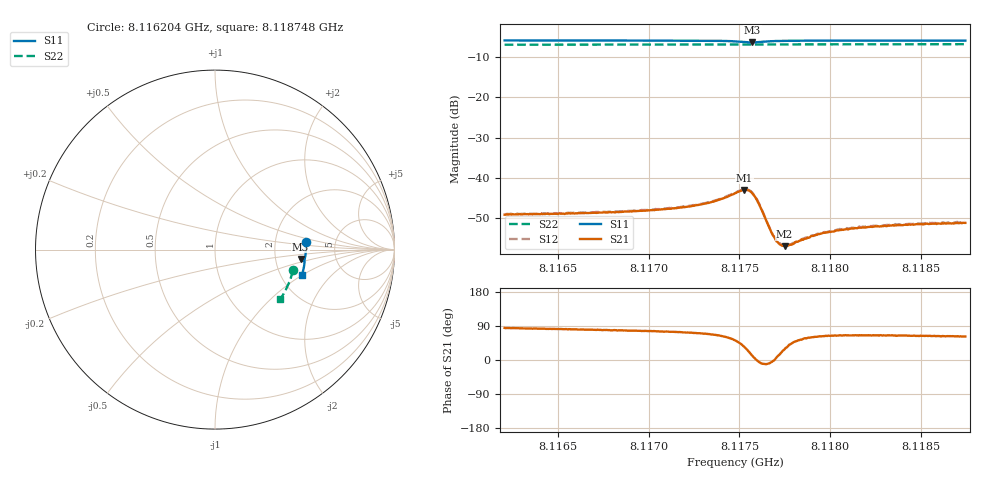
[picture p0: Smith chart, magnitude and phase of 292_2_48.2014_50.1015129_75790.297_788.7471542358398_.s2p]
#  HZ  S  RI  R  50.00
! Rohde & Schwarz Vector Network Analyzer
! Rohde-Schwarz,ZNB20-2Port,1311601062101988,3.16
! Created: UTC 3/20/2024, 11:49:07 AM
! freq[Hz]  re:S11  im:S11  re:S21  im:S21  re:S12  im:S12  re:S22  im:S22
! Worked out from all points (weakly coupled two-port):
!   401 points, 8.116204 GHz to 8.118748 GHz, reference 50 ohm
!   highest |S21| = -42.92 dB at 8.117527 GHz (marker M1); lowest = -56.9 dB at 8.117749 GHz (marker M2)
!   lowest |S11| = -6.4 dB at 8.117571 GHz (marker M3), VSWR 2.84, Z = 139 - j18.8 ohm
!   |S11| at or under -10 dB: nowhere
!   |S22| runs from -7.0 to -6.8 dB; largest |S21 - S12| = 0.0002
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8.1162038e9  0.5053 0.043  0.000327 0.00351  0.000399 0.00357  0.4339 -0.1154
8.1166299e9  0.5064 0.0107  0.000605 0.00364  0.00066 0.00365  0.4265 -0.1441
8.1170559e9  0.5051 -0.0223  0.00102 0.00395  0.00107 0.00398  0.4172 -0.1723
8.1172086e9  0.5035 -0.0352  0.00134 0.00419  0.00139 0.00427  0.4133 -0.1821
8.117304e9  0.5018 -0.0438  0.00169 0.00449  0.00172 0.00454  0.4107 -0.1884
8.117393e9  0.4984 -0.0525  0.00237 0.00491  0.00247 0.00493  0.4081 -0.1942
8.1174757e9  0.4907 -0.0608  0.004 0.00512  0.00414 0.00517  0.4055 -0.1996
8.1175266e9  0.4812 -0.0611  0.00586 0.00409  0.00601 0.00411  0.4037 -0.2024
8.117552e9  0.4771 -0.0567  0.0065 0.00263  0.00664 0.00259  0.4029 -0.2038
8.1175711e9  0.4765 -0.052  0.00635 0.00131  0.00649 0.00124  0.4023 -0.2047
8.1175902e9  0.4788 -0.0478  0.00568 0.000172  0.00576 0.000128  0.402 -0.2058
8.1176092e9  0.4827 -0.0455  0.00471 -0.000462  0.00476 -0.000492  0.4016 -0.2068
8.1176728e9  0.4937 -0.0494  0.00222 -0.000256  0.00225 -0.000281  0.4004 -0.211
8.1176919e9  0.4953 -0.0518  0.00186 -2.21e-05  0.00187 -2.27e-05  0.3999 -0.2122
8.1177173e9  0.497 -0.0551  0.00151 0.000344  0.00153 0.000317  0.3991 -0.214
8.1177491e9  0.4981 -0.0587  0.00126 0.000678  0.00132 0.000677  0.3981 -0.216
8.1177809e9  0.4986 -0.0622  0.00112 0.000987  0.00114 0.000992  0.3972 -0.2182
8.1179018e9  0.4986 -0.0741  0.000964 0.00167  0.000991 0.00168  0.3935 -0.2258
8.1179399e9  0.4984 -0.0774  0.000939 0.00179  0.000988 0.00182  0.3924 -0.2281
8.1180417e9  0.4975 -0.0859  0.000975 0.00203  0.001 0.00208  0.3888 -0.2344
8.1183279e9  0.4931 -0.1082  0.00108 0.00234  0.00116 0.00236  0.3788 -0.2517
8.1187476e9  0.485 -0.139  0.00131 0.00246  0.00136 0.00256  0.3628 -0.2765
